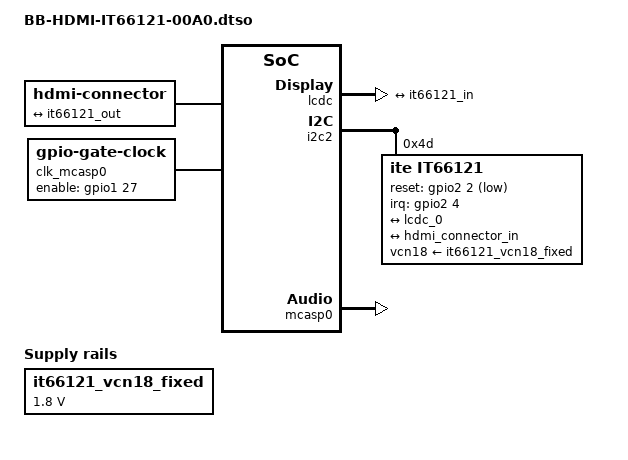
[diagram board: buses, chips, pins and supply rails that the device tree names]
// SPDX-License-Identifier: GPL-2.0-only
/*
 * Copyright (C) 2012 Texas Instruments Incorporated - https://www.ti.com/
 */

/dts-v1/;
/plugin/;

#include <dt-bindings/gpio/gpio.h>
#include <dt-bindings/pinctrl/am33xx.h>
#include <dt-bindings/interrupt-controller/irq.h>

/*
 * Helper to show loaded overlays under: /proc/device-tree/chosen/overlays/
 */
&{/chosen} {
	overlays {
		BB-HDMI-IT66121-00A0.kernel = __TIMESTAMP__;
	};
};

/*
 * Free up the pins used by the cape from the pinmux helpers.
 */
&ocp {
	P9_25_pinmux { status = "disabled"; };	/* mcasp0_ahclkx */
	P9_28_pinmux { status = "disabled"; };	/* mcasp0_axr2 */
	P9_29_pinmux { status = "disabled"; };	/* mcasp0_fsx */
	P9_31_pinmux { status = "disabled"; };	/* mcasp0_aclkx */

	P8_45_pinmux { status = "disabled"; };	/* lcd_data0 */
	P8_46_pinmux { status = "disabled"; };	/* lcd_data1 */
	P8_43_pinmux { status = "disabled"; };	/* lcd_data2 */
	P8_44_pinmux { status = "disabled"; };	/* lcd_data3 */
	P8_41_pinmux { status = "disabled"; };	/* lcd_data4 */
	P8_42_pinmux { status = "disabled"; };	/* lcd_data5 */
	P8_39_pinmux { status = "disabled"; };	/* lcd_data6 */
	P8_40_pinmux { status = "disabled"; };	/* lcd_data7 */
	P8_37_pinmux { status = "disabled"; };	/* lcd_data8 */
	P8_38_pinmux { status = "disabled"; };	/* lcd_data9 */
	P8_36_pinmux { status = "disabled"; };	/* lcd_data10 */
	P8_34_pinmux { status = "disabled"; };	/* lcd_data11 */
	P8_35_pinmux { status = "disabled"; };	/* lcd_data12 */
	P8_33_pinmux { status = "disabled"; };	/* lcd_data13 */
	P8_31_pinmux { status = "disabled"; };	/* lcd_data14 */
	P8_32_pinmux { status = "disabled"; };	/* lcd_data15 */
	P8_27_pinmux { status = "disabled"; };	/* lcd_vsync */
	P8_29_pinmux { status = "disabled"; };	/* lcd_hsync */
	P8_28_pinmux { status = "disabled"; };	/* lcd_pclk */
	P8_30_pinmux { status = "disabled"; };	/* lcd_ac_bias_en */

	P8_7_pinmux { status = "disabled"; };	/* hdmi_nrst */
	P8_10_pinmux { status = "disabled"; };	/* hdmi_int */
};

&{/} {
	connector-hdmi {
		compatible = "hdmi-connector";
		label = "hdmi";
		type = "a";
		port {
			hdmi_connector_in: endpoint {
				remote-endpoint = <&it66121_out>;
			};
		};
	};

	it66121_vcn18_fixed: fixedregulator1 {
		compatible = "regulator-fixed";
		regulator-name = "it66121_vcn18_fixed";
		regulator-min-microvolt = <1800000>;
		regulator-max-microvolt = <1800000>;
	};
};

&am33xx_pinmux {
	nxp_hdmi_bonelt_pins: nxp-hdmi-bonelt-pins {
		pinctrl-single,pins = <
			AM33XX_PADCONF(AM335X_PIN_XDMA_EVENT_INTR0, PIN_OUTPUT_PULLDOWN, MUX_MODE3)
			AM33XX_PADCONF(AM335X_PIN_LCD_DATA0, PIN_OUTPUT, MUX_MODE0)
			AM33XX_PADCONF(AM335X_PIN_LCD_DATA1, PIN_OUTPUT, MUX_MODE0)
			AM33XX_PADCONF(AM335X_PIN_LCD_DATA2, PIN_OUTPUT, MUX_MODE0)
			AM33XX_PADCONF(AM335X_PIN_LCD_DATA3, PIN_OUTPUT, MUX_MODE0)
			AM33XX_PADCONF(AM335X_PIN_LCD_DATA4, PIN_OUTPUT, MUX_MODE0)
			AM33XX_PADCONF(AM335X_PIN_LCD_DATA5, PIN_OUTPUT, MUX_MODE0)
			AM33XX_PADCONF(AM335X_PIN_LCD_DATA6, PIN_OUTPUT, MUX_MODE0)
			AM33XX_PADCONF(AM335X_PIN_LCD_DATA7, PIN_OUTPUT, MUX_MODE0)
			AM33XX_PADCONF(AM335X_PIN_LCD_DATA8, PIN_OUTPUT, MUX_MODE0)
			AM33XX_PADCONF(AM335X_PIN_LCD_DATA9, PIN_OUTPUT, MUX_MODE0)
			AM33XX_PADCONF(AM335X_PIN_LCD_DATA10, PIN_OUTPUT, MUX_MODE0)
			AM33XX_PADCONF(AM335X_PIN_LCD_DATA11, PIN_OUTPUT, MUX_MODE0)
			AM33XX_PADCONF(AM335X_PIN_LCD_DATA12, PIN_OUTPUT, MUX_MODE0)
			AM33XX_PADCONF(AM335X_PIN_LCD_DATA13, PIN_OUTPUT, MUX_MODE0)
			AM33XX_PADCONF(AM335X_PIN_LCD_DATA14, PIN_OUTPUT, MUX_MODE0)
			AM33XX_PADCONF(AM335X_PIN_LCD_DATA15, PIN_OUTPUT, MUX_MODE0)
			AM33XX_PADCONF(AM335X_PIN_LCD_VSYNC, PIN_OUTPUT_PULLDOWN, MUX_MODE0)
			AM33XX_PADCONF(AM335X_PIN_LCD_HSYNC, PIN_OUTPUT_PULLDOWN, MUX_MODE0)
			AM33XX_PADCONF(AM335X_PIN_LCD_PCLK, PIN_OUTPUT_PULLDOWN, MUX_MODE0)
			AM33XX_PADCONF(AM335X_PIN_LCD_AC_BIAS_EN, PIN_OUTPUT_PULLDOWN, MUX_MODE0)
		>;
	};

	hdmi_gpio_pins_default: hdmi-gpio-default-pins {
		pinctrl-single,pins = <
			AM33XX_PADCONF(AM335X_PIN_GPMC_ADVN_ALE, PIN_INPUT_PULLUP, MUX_MODE7)	/* HDMI_INT GPMC_ADVN_ALE.GPIO2_2 */
			AM33XX_PADCONF(AM335X_PIN_GPMC_WEN, PIN_OUTPUT_PULLUP, MUX_MODE7) /* HDMI_RESET GPMC_WEN.GPIO2_4 */
		>;
	};

	mcasp0_pins: mcasp0-pins {
		pinctrl-single,pins = <
			AM33XX_PADCONF(AM335X_PIN_MCASP0_AHCLKX, PIN_INPUT_PULLUP, MUX_MODE0) /* mcasp0_ahcklx.mcasp0_ahclkx P9_25*/
			AM33XX_PADCONF(AM335X_PIN_MCASP0_AHCLKR, PIN_OUTPUT_PULLDOWN, MUX_MODE2) /* mcasp0_ahclkr.mcasp0_axr2  P9_28*/
			AM33XX_PADCONF(AM335X_PIN_MCASP0_FSX, PIN_OUTPUT_PULLUP, MUX_MODE0)  /*  P9_29 */
			AM33XX_PADCONF(AM335X_PIN_MCASP0_ACLKX, PIN_OUTPUT_PULLDOWN, MUX_MODE0) /* P9_31 */
			AM33XX_PADCONF(AM335X_PIN_GPMC_A11, PIN_OUTPUT_PULLDOWN, MUX_MODE7) /* gpmc_a11.GPIO1_27 */
		>;
	};
};

&lcdc {
	status = "okay";
	pinctrl-names = "default";
	pinctrl-0 = <&nxp_hdmi_bonelt_pins>;

	/* If you want to get 24 bit RGB and 16 BGR mode instead of
	 * current 16 bit RGB and 24 BGR modes, set the propety
	 * below to "crossed" and uncomment the video-ports -property
	 * in tda19988 node.
	 */
	blue-and-red-wiring = "straight";

	port {
		lcdc_0: endpoint@0 {
			remote-endpoint = <&it66121_in>;
		};
	};
};

&i2c2 {
	#address-cells = <1>;
	#size-cells = <0>;

	status = "okay";
	it66121: bridge-hdmi@4d {
		compatible = "ite,it66121";
		reg = <0x4d>;
		pinctrl-names = "default";
		pinctrl-0 = <&hdmi_gpio_pins_default>;

		// vcn33-supply = <&vmmcsd_fixed>;
		// vcn33-supply = <&v3v3>;
		vcn18-supply = <&it66121_vcn18_fixed>;
		//vrf12-supply = <&mt6358_vrf12_reg>;
		reset-gpios = <&gpio2 2 GPIO_ACTIVE_LOW>;
		interrupt-parent = <&gpio2>;
		interrupts = <4 IRQ_TYPE_EDGE_FALLING>;
		#sound-dai-cells = <0>;

		ports {
			#address-cells = <1>;
			#size-cells = <0>;

			port@0 {
				reg = <0>;

				it66121_in: endpoint {
					bus-width = <24>;
					remote-endpoint = <&lcdc_0>;
				};
			};

			port@1 {
				reg = <1>;

				it66121_out: endpoint {
					remote-endpoint = <&hdmi_connector_in>;
				};
			};
		};
	};
};

&mcasp0 {
	#sound-dai-cells = <0>;
	pinctrl-names = "default";
	pinctrl-0 = <&mcasp0_pins>;
	status = "okay";
	op-mode = <0>;	/* MCASP_IIS_MODE */
	tdm-slots = <2>;
	serial-dir = <	/* 0: INACTIVE, 1: TX, 2: RX */
			0 0 1 0
		>;
	tx-num-evt = <32>;
	rx-num-evt = <32>;
};

&{/} {
	clk_mcasp0_fixed: clk_mcasp0_fixed {
		#clock-cells = <0>;
		compatible = "fixed-clock";
		clock-frequency = <24576000>;
	};

	clk_mcasp0: clk_mcasp0 {
		#clock-cells = <0>;
		compatible = "gpio-gate-clock";
		clocks = <&clk_mcasp0_fixed>;
		enable-gpios = <&gpio1 27 0>; /* BeagleBone Black Clk enable on GPIO1_27 */
	};

	sound {
		compatible = "simple-audio-card";
		simple-audio-card,name = "TI BeagleBone Black";
		simple-audio-card,format = "i2s";
		simple-audio-card,bitclock-master = <&dailink0_master>;
		simple-audio-card,frame-master = <&dailink0_master>;

		dailink0_master: simple-audio-card,cpu {
			sound-dai = <&mcasp0>;
			clocks = <&clk_mcasp0>;
		};

		simple-audio-card,codec {
			sound-dai = <&it66121>;
		};
	};
};
